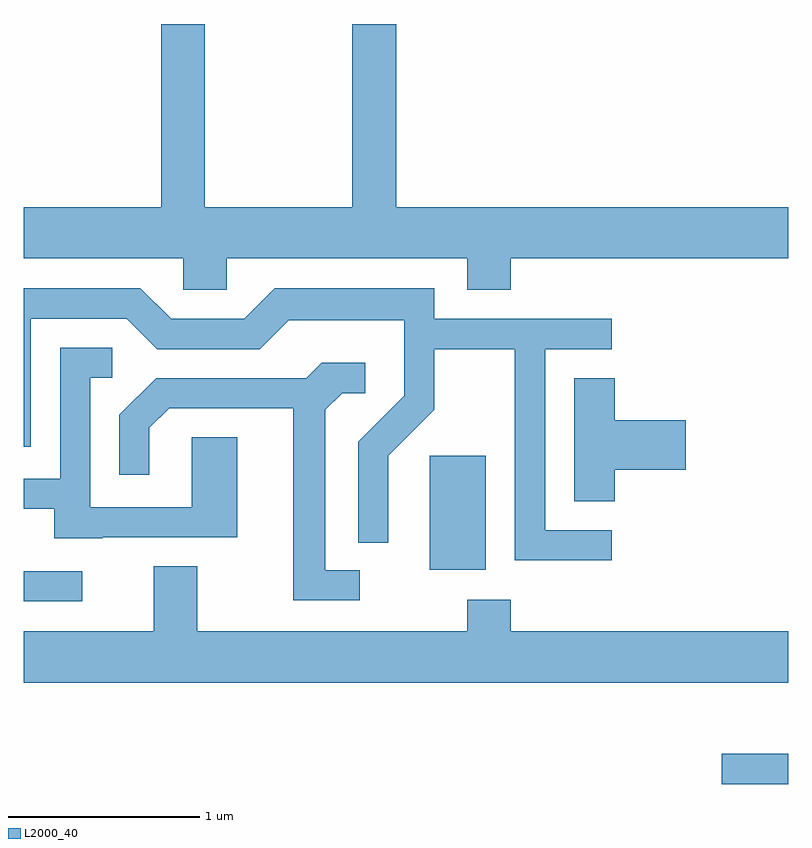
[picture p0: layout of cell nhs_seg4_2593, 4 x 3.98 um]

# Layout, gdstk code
import gdstk
lib = gdstk.Library(unit=1e-6, precision=1e-09)
def R(c, l, rs):  # rectangles x0, y0, x1, y1
    for r in rs: c.add(gdstk.rectangle(r[:2], r[2:], *l))
def P(c, l, *ps):  # polygons
    for p in ps: c.add(gdstk.Polygon(p, *l))
L2000_40 = (2000, 40)

nhs_seg4_2593 = lib.new_cell('nhs_seg4_2593')
R(nhs_seg4_2593, L2000_40, [(265.263,1272.006,265.611,1272.164), (261.611,1272.961,261.918,1273.119), (263.736,1273.126,264.029,1273.724)])
P(nhs_seg4_2593, L2000_40, [(262.674,1274.756),(263.931,1274.756),(263.931,1274.591),(264.159,1274.591),(264.159,1274.756),(265.611,1274.756),(265.611,1275.024),(263.559,1275.024),(263.559,1275.982),(263.331,1275.982),(263.331,1275.024),(262.559,1275.024),(262.559,1275.982),(262.331,1275.982),(262.331,1275.024),(261.611,1275.024),(261.611,1274.756),(262.446,1274.756),(262.446,1274.591),(262.674,1274.591)],
  [(264.688,1273.334),(264.339,1273.334),(264.339,1274.281),(264.688,1274.281),(264.688,1274.439),(263.759,1274.439),(263.759,1274.599),(262.924,1274.599),(262.764,1274.439),(262.382,1274.439),(262.222,1274.599),(261.611,1274.599),(261.611,1273.771),(261.649,1273.771),(261.649,1274.441),(262.149,1274.441),(262.309,1274.281),(262.847,1274.281),(262.997,1274.431),(263.601,1274.431),(263.601,1274.037),(263.361,1273.797),(263.361,1273.268),(263.519,1273.268),(263.519,1273.724),(263.759,1273.964),(263.759,1274.281),(264.181,1274.281),(264.181,1273.176),(264.688,1273.176)],
  [(262.025,1273.296),(262.729,1273.296),(262.729,1273.819),(262.491,1273.819),(262.491,1273.454),(261.959,1273.454),(261.959,1274.131),(262.073,1274.131),(262.073,1274.289),(261.801,1274.289),(261.801,1273.604),(261.611,1273.604),(261.611,1273.446),(261.771,1273.446),(261.771,1273.291),(262.025,1273.291)],
  [(263.368,1273.124),(263.189,1273.124),(263.189,1273.964),(263.277,1274.051),(263.398,1274.051),(263.398,1274.209),(263.169,1274.209),(263.089,1274.129),(262.304,1274.129),(262.111,1273.937),(262.111,1273.623),(262.269,1273.623),(262.269,1273.869),(262.372,1273.971),(263.021,1273.971),(263.021,1272.966),(263.368,1272.966)],
  [(264.704,1273.651),(265.074,1273.651),(265.074,1273.909),(264.704,1273.909),(264.704,1274.129),(264.491,1274.129),(264.491,1273.486),(264.704,1273.486)],
  [(263.931,1272.969),(263.931,1272.804),(262.519,1272.804),(262.519,1273.144),(262.291,1273.144),(262.291,1272.804),(261.611,1272.804),(261.611,1272.536),(265.611,1272.536),(265.611,1272.804),(264.159,1272.804),(264.159,1272.969)])

lib.write_gds('nhs_seg4_2593.gds')
